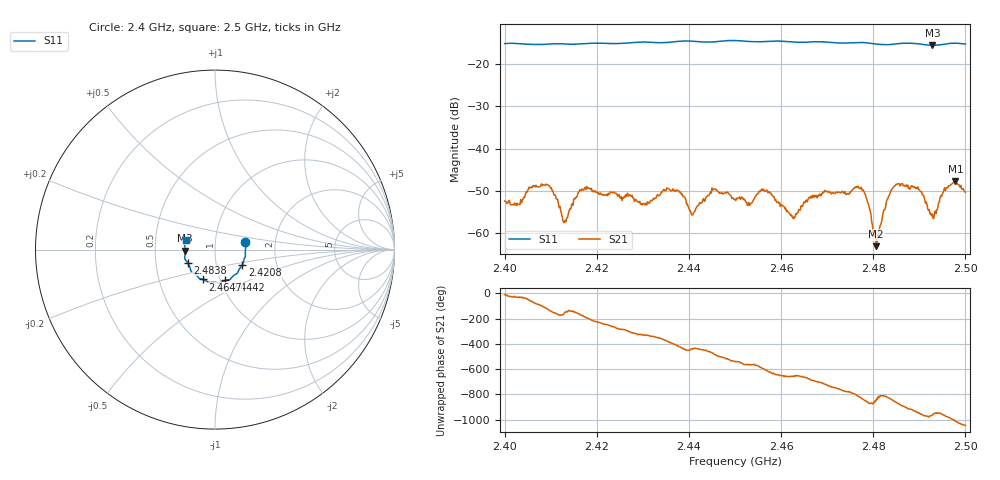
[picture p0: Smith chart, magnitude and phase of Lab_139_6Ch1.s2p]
# Hz S RI R 50
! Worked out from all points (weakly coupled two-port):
!   601 points, 2.4 GHz to 2.5 GHz, reference 50 ohm
!   highest |S21| = -47.73 dB at 2.4978 GHz (marker M1); lowest = -63.0 dB at 2.4807 GHz (marker M2)
!   lowest |S11| = -15.6 dB at 2.4928 GHz (marker M3), VSWR 1.40, Z = 35.8 - j0.38 ohm
!   |S11| at or under -10 dB: start of sweep to end of sweep
!   S12 and S22 are empty: the file has one direction only
!   S11 on the Smith chart (normalised r, x): 2.4 GHz: 1.40, +0.12; 2.4208 GHz: 1.33, -0.24; 2.4442 GHz: 1.05, -0.37; 2.4647 GHz: 0.83, -0.29; 2.4838 GHz: 0.73, -0.11; 2.5 GHz: 0.72, +0.08
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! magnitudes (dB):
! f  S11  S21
! 2.4 GHz  -15.2  -52.4
! 2.4093 GHz  -15.3  -48.5
! 2.4132 GHz  -15.3  -56.9
! 2.4167 GHz  -15.3  -49.9
! 2.4208 GHz  -15.1  -50.5
! 2.4333 GHz  -15.0  -51.1
! 2.4377 GHz  -14.7  -49.9
! 2.4408 GHz  -14.7  -55.6
! 2.4442 GHz  -14.9  -51.1
! 2.45 GHz  -14.5  -52.0
! 2.4565 GHz  -14.7  -50.1
! 2.4625 GHz  -14.8  -55.9
! 2.4647 GHz  -14.9  -53.6
! 2.4667 GHz  -14.8  -51.6
! 2.477 GHz  -15.0  -49.4
! 2.4807 GHz  -15.3  -63.0
! 2.4833 GHz  -15.5  -51.2
! 2.4838 GHz  -15.4  -49.9
! 2.4893 GHz  -15.2  -49.2
! 2.4928 GHz  -15.6  -55.4
! 2.4978 GHz  -15.1  -47.7
! 2.5 GHz  -15.3  -50.3
